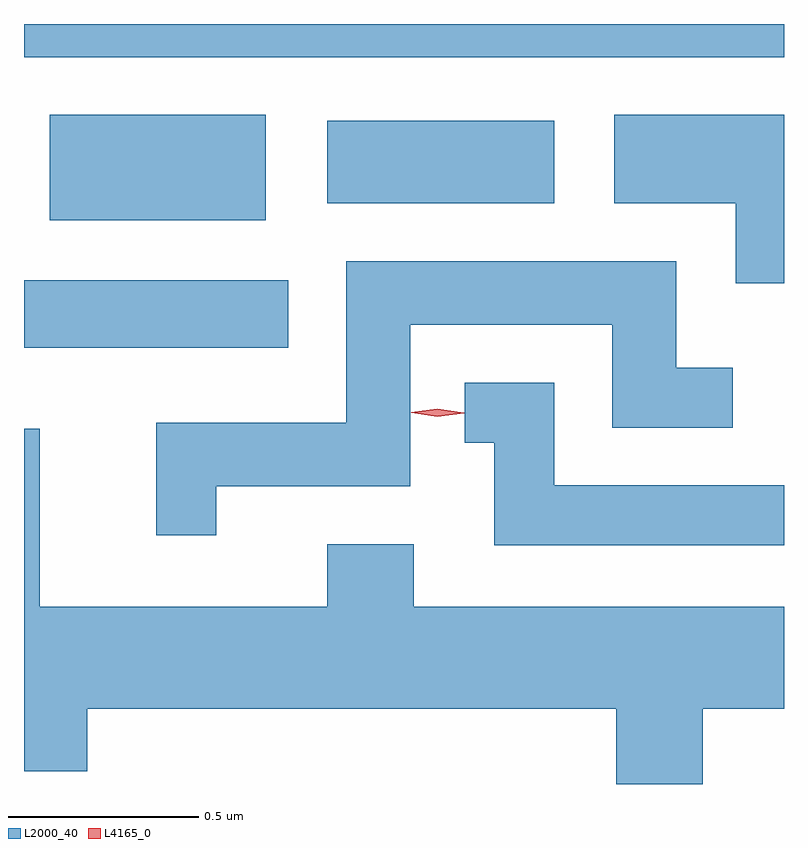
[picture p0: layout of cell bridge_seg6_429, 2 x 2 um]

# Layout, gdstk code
import gdstk
lib = gdstk.Library(unit=1e-6, precision=1e-09)
def R(c, l, rs):  # rectangles x0, y0, x1, y1
    for r in rs: c.add(gdstk.rectangle(r[:2], r[2:], *l))
def P(c, l, *ps):  # polygons
    for p in ps: c.add(gdstk.Polygon(p, *l))
L2000_40 = (2000, 40)
L4165_0 = (4165, 0)

bridge_seg6_429 = lib.new_cell('bridge_seg6_429')
R(bridge_seg6_429, L2000_40, [(869.353,1648.666,870.049,1648.844), (869.421,1649.001,869.989,1649.279), (870.151,1649.046,870.749,1649.264), (869.353,1649.431,871.353,1649.518)])
P(bridge_seg6_429, L2000_40, [(871.353,1649.279),(870.906,1649.279),(870.906,1649.046),(871.226,1649.046),(871.226,1648.836),(871.353,1648.836)],
  [(869.859,1648.301),(870.369,1648.301),(870.369,1648.726),(870.901,1648.726),(870.901,1648.456),(871.218,1648.456),(871.218,1648.614),(871.069,1648.614),(871.069,1648.894),(870.201,1648.894),(870.201,1648.469),(869.701,1648.469),(869.701,1648.173),(869.859,1648.173)],
  [(871.353,1648.304),(870.749,1648.304),(870.749,1648.574),(870.513,1648.574),(870.513,1648.416),(870.591,1648.416),(870.591,1648.146),(871.353,1648.146)],
  [(871.139,1647.716),(871.353,1647.716),(871.353,1647.984),(870.379,1647.984),(870.379,1648.149),(870.151,1648.149),(870.151,1647.984),(869.394,1647.984),(869.394,1648.453),(869.353,1648.453),(869.353,1647.551),(869.519,1647.551),(869.519,1647.716),(870.911,1647.716),(870.911,1647.518),(871.139,1647.518)])
P(bridge_seg6_429, L4165_0, [(870.441,1648.485),(870.372,1648.495),(870.372,1648.495),(870.372,1648.496),(870.441,1648.505),(870.511,1648.495),(870.511,1648.495),(870.511,1648.494)])

lib.write_gds('bridge_seg6_429.gds')
